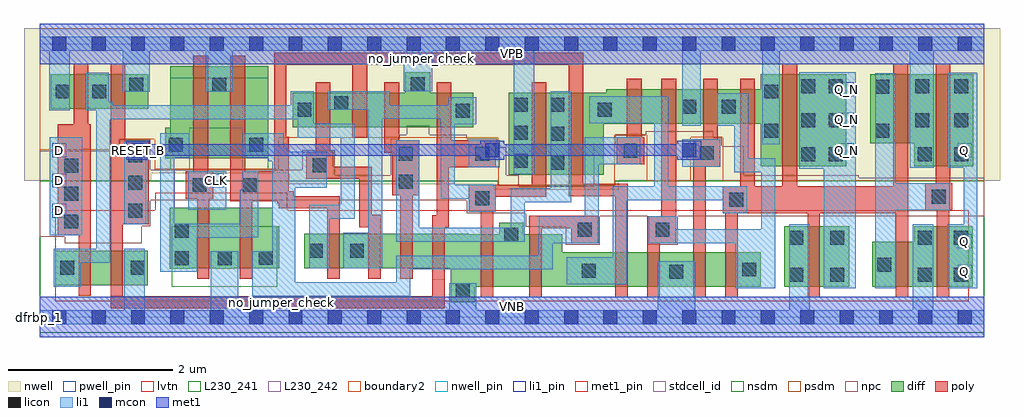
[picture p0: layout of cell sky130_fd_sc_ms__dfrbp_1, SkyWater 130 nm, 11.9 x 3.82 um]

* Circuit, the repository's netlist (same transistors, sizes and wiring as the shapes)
* Copyright 2020 The SkyWater PDK Authors
*
* Licensed under the Apache License, Version 2.0 (the "License");
* you may not use this file except in compliance with the License.
* You may obtain a copy of the License at
*
*     https://www.apache.org/licenses/LICENSE-2.0
*
* Unless required by applicable law or agreed to in writing, software
* distributed under the License is distributed on an "AS IS" BASIS,
* WITHOUT WARRANTIES OR CONDITIONS OF ANY KIND, either express or implied.
* See the License for the specific language governing permissions and
* limitations under the License.
*
* SPDX-License-Identifier: Apache-2.0

.SUBCKT sky130_fd_sc_ms__dfrbp_1 CLK D RESET_B VGND VNB VPB VPWR Q Q_N
*.PININFO CLK:I D:I RESET_B:I VGND:I VNB:I VPB:I VPWR:I Q:O Q_N:O
MI651 Q_N s0 VGND VNB sky130_fd_pr__nfet_01v8_lvt m=1 w=0.74U l=0.15U mult=1 sa=0.265
+ sb=0.265 sd=0.28 area=0.063 perim=1.14
MI46 clkpos clkneg VGND VNB sky130_fd_pr__nfet_01v8_lvt m=1 w=0.74U l=0.15U mult=1
+ sa=0.265 sb=0.265 sd=0.28 area=0.063 perim=1.14
MI42 db clkneg M0 VNB sky130_fd_pr__nfet_01v8_lvt m=1 w=0.42U l=0.15U mult=1 sa=0.265
+ sb=0.265 sd=0.28 area=0.063 perim=1.14
MI656 net117 s0 net83 VNB sky130_fd_pr__nfet_01v8_lvt m=1 w=0.42U l=0.15U mult=1
+ sa=0.265 sb=0.265 sd=0.28 area=0.063 perim=1.14
MI657 net83 RESET_B VGND VNB sky130_fd_pr__nfet_01v8_lvt m=1 w=0.42U l=0.15U mult=1
+ sa=0.265 sb=0.265 sd=0.28 area=0.063 perim=1.14
MI33 net92 RESET_B VGND VNB sky130_fd_pr__nfet_01v8_lvt m=1 w=0.42U l=0.15U mult=1
+ sa=0.265 sb=0.265 sd=0.28 area=0.063 perim=1.14
MI4 M0 clkpos net100 VNB sky130_fd_pr__nfet_01v8_lvt m=1 w=0.42U l=0.15U mult=1
+ sa=0.265 sb=0.265 sd=0.28 area=0.063 perim=1.14
MI34 net100 M1 net92 VNB sky130_fd_pr__nfet_01v8_lvt m=1 w=0.42U l=0.15U mult=1
+ sa=0.265 sb=0.265 sd=0.28 area=0.063 perim=1.14
MI655 s0 clkneg net116 VNB sky130_fd_pr__nfet_01v8_lvt m=1 w=0.42U l=0.15U mult=1
+ sa=0.265 sb=0.265 sd=0.28 area=0.063 perim=1.14
MI652 net176 s0 VGND VNB sky130_fd_pr__nfet_01v8_lvt m=1 w=0.55U l=0.15U mult=1
+ sa=0.265 sb=0.265 sd=0.28 area=0.063 perim=1.14
MI653 Q net176 VGND VNB sky130_fd_pr__nfet_01v8_lvt m=1 w=0.74U l=0.15U mult=1
+ sa=0.265 sb=0.265 sd=0.28 area=0.063 perim=1.14
MI654 net116 net117 VGND VNB sky130_fd_pr__nfet_01v8_lvt m=1 w=0.42U l=0.15U mult=1
+ sa=0.265 sb=0.265 sd=0.28 area=0.063 perim=1.14
MI44 clkneg CLK VGND VNB sky130_fd_pr__nfet_01v8_lvt m=1 w=0.74U l=0.15U mult=1
+ sa=0.265 sb=0.265 sd=0.28 area=0.063 perim=1.14
MI647 M1 M0 VGND VNB sky130_fd_pr__nfet_01v8_lvt m=1 w=0.64U l=0.15U mult=1 sa=0.265
+ sb=0.265 sd=0.28 area=0.063 perim=1.14
MI39 db D net132 VNB sky130_fd_pr__nfet_01v8_lvt m=1 w=0.42U l=0.15U mult=1 sa=0.265
+ sb=0.265 sd=0.28 area=0.063 perim=1.14
MI38 net132 RESET_B VGND VNB sky130_fd_pr__nfet_01v8_lvt m=1 w=0.42U l=0.15U mult=1
+ sa=0.265 sb=0.265 sd=0.28 area=0.063 perim=1.14
MI649 M1 clkpos s0 VNB sky130_fd_pr__nfet_01v8_lvt m=1 w=0.64U l=0.15U mult=1 sa=0.265
+ sb=0.265 sd=0.28 area=0.063 perim=1.14
MI47 clkpos clkneg VPWR VPB sky130_fd_pr__pfet_01v8 m=1 w=1.12U l=0.18U mult=1
+ sa=0.265 sb=0.265 sd=0.28 area=0.063 perim=1.14
MI43 db clkpos M0 VPB sky130_fd_pr__pfet_01v8 m=1 w=0.42U l=0.18U mult=1 sa=0.265
+ sb=0.265 sd=0.28 area=0.063 perim=1.14
MI662 net148 net117 VPWR VPB sky130_fd_pr__pfet_01v8 m=1 w=0.42U l=0.18U mult=1
+ sa=0.265 sb=0.265 sd=0.28 area=0.063 perim=1.14
MI659 net117 RESET_B VPWR VPB sky130_fd_pr__pfet_01v8 m=1 w=0.42U l=0.18U mult=1
+ sa=0.265 sb=0.265 sd=0.28 area=0.063 perim=1.14
MI664 s0 clkpos net148 VPB sky130_fd_pr__pfet_01v8 m=1 w=0.42U l=0.18U mult=1 sa=0.265
+ sb=0.265 sd=0.28 area=0.063 perim=1.14
MI658 net117 s0 VPWR VPB sky130_fd_pr__pfet_01v8 m=1 w=0.42U l=0.18U mult=1 sa=0.265
+ sb=0.265 sd=0.28 area=0.063 perim=1.14
MI30 net167 M1 VPWR VPB sky130_fd_pr__pfet_01v8 m=1 w=0.42U l=0.18U mult=1 sa=0.265
+ sb=0.265 sd=0.28 area=0.063 perim=1.14
MI31 M0 clkneg net167 VPB sky130_fd_pr__pfet_01v8 m=1 w=0.42U l=0.18U mult=1 sa=0.265
+ sb=0.265 sd=0.28 area=0.063 perim=1.14
MI32 M0 RESET_B VPWR VPB sky130_fd_pr__pfet_01v8 m=1 w=0.42U l=0.18U mult=1 sa=0.265
+ sb=0.265 sd=0.28 area=0.063 perim=1.14
MI663 net176 s0 VPWR VPB sky130_fd_pr__pfet_01v8 m=1 w=0.84U l=0.18U mult=1 sa=0.265
+ sb=0.265 sd=0.28 area=0.063 perim=1.14
MI660 Q net176 VPWR VPB sky130_fd_pr__pfet_01v8 m=1 w=1.12U l=0.18U mult=1 sa=0.265
+ sb=0.265 sd=0.28 area=0.063 perim=1.14
MI661 Q_N s0 VPWR VPB sky130_fd_pr__pfet_01v8 m=1 w=1.12U l=0.18U mult=1 sa=0.265
+ sb=0.265 sd=0.28 area=0.063 perim=1.14
MI45 clkneg CLK VPWR VPB sky130_fd_pr__pfet_01v8 m=1 w=1.12U l=0.18U mult=1 sa=0.265
+ sb=0.265 sd=0.28 area=0.063 perim=1.14
MI648 M1 M0 VPWR VPB sky130_fd_pr__pfet_01v8 m=1 w=1.0U l=0.18U mult=1 sa=0.265
+ sb=0.265 sd=0.28 area=0.063 perim=1.14
MI41 db RESET_B VPWR VPB sky130_fd_pr__pfet_01v8 m=1 w=0.42U l=0.18U mult=1 sa=0.265
+ sb=0.265 sd=0.28 area=0.063 perim=1.14
MI40 db D VPWR VPB sky130_fd_pr__pfet_01v8 m=1 w=0.42U l=0.18U mult=1 sa=0.265
+ sb=0.265 sd=0.28 area=0.063 perim=1.14
MI650 M1 clkneg s0 VPB sky130_fd_pr__pfet_01v8 m=1 w=1.0U l=0.18U mult=1 sa=0.265
+ sb=0.265 sd=0.28 area=0.063 perim=1.14
.ENDS sky130_fd_sc_ms__dfrbp_1

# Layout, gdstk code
import gdstk
lib = gdstk.Library(unit=1e-6, precision=1e-09)
def R(c, l, rs):  # rectangles x0, y0, x1, y1
    for r in rs: c.add(gdstk.rectangle(r[:2], r[2:], *l))
def A(c, l, x, y, w, h, nx, ny, dx, dy):  # array of equal rectangles
    R(c, l, [(x+i*dx, y+j*dy, x+i*dx+w, y+j*dy+h) for i in range(nx) for j in range(ny)])
def P(c, l, *ps):  # polygons
    for p in ps: c.add(gdstk.Polygon(p, *l))
nwell_pin = (64, 16)
nwell = (64, 20)
diff = (65, 20)
poly = (66, 20)
licon = (66, 44)
li1_pin = (67, 16)
li1 = (67, 20)
mcon = (67, 44)
met1_pin = (68, 16)
met1 = (68, 20)
stdcell_id = (81, 4)
nsdm = (93, 44)
psdm = (94, 20)
npc = (95, 20)
pwell_pin = (122, 16)
lvtn = (125, 44)
L230_241 = (230, 241)
L230_242 = (230, 242)
boundary2 = (236, 0)

sky130_fd_sc_ms__dfrbp_1 = lib.new_cell('sky130_fd_sc_ms__dfrbp_1')
R(sky130_fd_sc_ms__dfrbp_1, nwell_pin, [(0,3.085,11.52,3.33)])
P(sky130_fd_sc_ms__dfrbp_1, nwell, [(11.71,3.52),(-0.19,3.52),(-0.19,1.66),(1.36,1.66),(1.36,1.755),(3.035,1.755),(3.035,1.62),(5.54,1.62),(5.54,1.555),(7.06,1.555),(7.06,1.66),(11.71,1.66)])
R(sky130_fd_sc_ms__dfrbp_1, diff, [(9.08,0.37,9.87,1.11), (0.19,0.39,1.32,0.81), (0.135,2.54,1.325,2.96)])
P(sky130_fd_sc_ms__dfrbp_1, diff, [(2.785,3.055),(1.595,3.055),(1.595,2.31),(1.535,2.31),(1.535,1.935),(2.785,1.935)],
  [(2.92,1.11),(2.84,1.11),(2.84,1.335),(1.59,1.335),(1.59,0.59),(1.845,0.59),(1.845,0.595),(2.145,0.595),(2.145,0.59),(2.365,0.59),(2.365,0.595),(2.92,0.595)],
  [(5.285,2.735),(4.765,2.735),(4.765,2.985),(4.46,2.985),(4.46,2.735),(3.085,2.735),(3.085,2.315),(5.285,2.315)],
  [(8.795,0.79),(6.37,0.79),(6.37,1.01),(5.895,1.01),(5.895,1.15),(5.605,1.15),(5.605,1.01),(5.225,1.01),(5.225,1.015),(3.225,1.015),(3.225,0.595),(5.015,0.595),(5.015,0.18),(5.305,0.18),(5.305,0.37),(8.795,0.37)],
  [(9.835,2.96),(8.795,2.96),(8.795,2.775),(6.91,2.775),(6.91,2.735),(5.72,2.735),(5.72,1.735),(6.88,1.735),(6.88,2.355),(8.795,2.355),(8.795,1.84),(9.835,1.84)],
  [(11.375,1.11),(10.665,1.11),(10.665,0.92),(10.155,0.92),(10.155,0.37),(11.375,0.37)],
  [(11.385,2.96),(10.13,2.96),(10.13,2.12),(10.665,2.12),(10.665,1.84),(11.385,1.84)])
P(sky130_fd_sc_ms__dfrbp_1, poly, [(0.625,2.35),(0.595,2.35),(0.595,3.09),(0.415,3.09),(0.415,2.35),(0.22,2.35),(0.22,1),(0.475,1),(0.475,0.26),(0.625,0.26)],
  [(7.37,2.195),(7.34,2.195),(7.34,2.905),(7.16,2.905),(7.16,2.195),(7.04,2.195),(7.04,1.865),(7.37,1.865)],
  [(5.56,2.155),(5.02,2.155),(5.02,2.865),(4.84,2.865),(4.84,1.24),(4.79,1.24),(4.79,0.255),(1.015,0.255),(1.015,1.13),(1.33,1.13),(1.33,2.14),(1.045,2.14),(1.045,3.09),(0.865,3.09),(0.865,0.105),(4.94,0.105),(4.94,1.09),(4.99,1.09),(4.99,1.825),(5.56,1.825)],
  [(2.115,1.775),(2.055,1.775),(2.055,3.185),(1.875,3.185),(1.875,1.775),(1.785,1.775),(1.785,1.445),(1.92,1.445),(1.92,0.465),(2.07,0.465),(2.07,1.445),(2.115,1.445)],
  [(8.3,2.165),(8.27,2.165),(8.27,2.905),(8.09,2.905),(8.09,2.165),(7.97,2.165),(7.97,0.24),(8.12,0.24),(8.12,1.835),(8.3,1.835)],
  [(7.76,2.905),(7.58,2.905),(7.58,1.23),(7.41,1.23),(7.41,0.24),(7.56,0.24),(7.56,0.9),(7.76,0.9)],
  [(10.59,3.09),(10.41,3.09),(10.41,1.595),(9.235,1.595),(9.235,3.09),(9.055,3.09),(9.055,1.595),(8.72,1.595),(8.72,2.905),(8.54,2.905),(8.54,1.595),(8.33,1.595),(8.33,1.265),(8.36,1.265),(8.36,0.24),(8.51,0.24),(8.51,1.265),(9.365,1.265),(9.365,0.24),(9.515,0.24),(9.515,1.265),(10.44,1.265),(10.44,0.24),(10.59,0.24)],
  [(4.63,2.155),(4.385,2.155),(4.385,2.865),(4.205,2.865),(4.205,2.005),(4.3,2.005),(4.3,1.485),(4.4,1.485),(4.4,0.465),(4.55,0.465),(4.55,1.485),(4.63,1.485)],
  [(4.16,1.245),(4.05,1.245),(4.05,1.835),(3.58,1.835),(3.58,2.015),(3.545,2.015),(3.545,2.865),(3.365,2.865),(3.365,2.015),(3.25,2.015),(3.25,1.685),(3.9,1.685),(3.9,1.095),(4.01,1.095),(4.01,0.465),(4.16,0.465)],
  [(11.13,1.63),(11.105,1.63),(11.105,3.09),(10.925,3.09),(10.925,1.63),(10.8,1.63),(10.8,1.3),(10.94,1.3),(10.94,0.24),(11.09,0.24),(11.09,1.3),(11.13,1.3)],
  [(7.17,1.625),(6.63,1.625),(6.63,3.225),(2.86,3.225),(2.86,1.775),(2.505,1.775),(2.505,3.185),(2.325,3.185),(2.325,1.41),(2.44,1.41),(2.44,0.465),(2.59,0.465),(2.59,1.41),(2.895,1.41),(2.895,1.39),(2.915,1.39),(2.915,1.325),(3.51,1.325),(3.51,0.465),(3.66,0.465),(3.66,1.475),(3.1,1.475),(3.1,1.535),(3.04,1.535),(3.04,2.2),(3.01,2.2),(3.01,3.075),(3.815,3.075),(3.815,2.185),(3.995,2.185),(3.995,3.075),(6.45,3.075),(6.45,1.475),(7.02,1.475),(7.02,0.24),(7.17,0.24)],
  [(6.18,2.865),(6,2.865),(6,1.615),(5.23,1.615),(5.23,1.285),(5.38,1.285),(5.38,0.24),(5.53,0.24),(5.53,1.285),(5.56,1.285),(5.56,1.465),(6.18,1.465)],
  [(6.81,1.235),(5.97,1.235),(5.97,0.24),(6.12,0.24),(6.12,1.085),(6.48,1.085),(6.48,0.9),(6.81,0.9)])
A(sky130_fd_sc_ms__dfrbp_1, licon, 0.3, 1.08, 0.17, 0.17, 1, 3, 0, 0.34)
A(sky130_fd_sc_ms__dfrbp_1, licon, 1.08, 1.21, 0.17, 0.17, 1, 3, 0, 0.34)
A(sky130_fd_sc_ms__dfrbp_1, licon, 6.23, 1.795, 0.17, 0.17, 1, 3, 0, 0.355)
A(sky130_fd_sc_ms__dfrbp_1, licon, 9.285, 1.9, 0.17, 0.17, 1, 3, 0, 0.415)
A(sky130_fd_sc_ms__dfrbp_1, licon, 9.625, 1.9, 0.17, 0.17, 1, 3, 0, 0.415)
A(sky130_fd_sc_ms__dfrbp_1, licon, 11.155, 1.9, 0.17, 0.17, 1, 3, 0, 0.415)
R(sky130_fd_sc_ms__dfrbp_1, licon, [(5.075,0.24,5.245,0.41), (9.14,0.43,9.31,0.6), (9.64,0.43,9.81,0.6), (10.705,0.43,10.875,0.6), (11.145,0.43,11.315,0.6), (7.68,0.47,7.85,0.64), (6.61,0.48,6.78,0.65), (8.565,0.495,8.735,0.665), (0.25,0.515,0.42,0.685), (1.11,0.515,1.28,0.685), (10.215,0.555,10.385,0.725), (1.65,0.63,1.82,0.8), (2.17,0.63,2.34,0.8), (2.67,0.635,2.84,0.805), (3.285,0.725,3.455,0.895), (3.785,0.725,3.955,0.895), (9.14,0.88,9.31,1.05), (9.64,0.88,9.81,1.05), (10.705,0.88,10.875,1.05), (11.145,0.88,11.315,1.05), (5.665,0.92,5.835,1.09), (1.65,0.97,1.82,1.14), (6.56,0.98,6.73,1.15), (7.51,0.98,7.68,1.15), (8.41,1.345,8.58,1.515), (5.31,1.365,5.48,1.535), (10.88,1.38,11.05,1.55), (1.865,1.525,2.035,1.695), (2.475,1.525,2.645,1.695), (4.38,1.565,4.55,1.735), (3.33,1.765,3.5,1.935), (5.78,1.82,5.95,1.99), (10.705,1.9,10.875,2.07), (4.38,1.905,4.55,2.075), (5.31,1.905,5.48,2.075), (8.05,1.915,8.22,2.085), (7.12,1.945,7.29,2.115), (1.575,2.015,1.745,2.185), (2.555,2.015,2.725,2.185), (5.78,2.16,5.95,2.33), (8.835,2.185,9.005,2.355), (10.19,2.185,10.36,2.355), (10.675,2.315,10.845,2.485), (5.075,2.43,5.245,2.6), (3.145,2.44,3.315,2.61), (6.805,2.445,6.975,2.615), (7.835,2.48,8.005,2.65), (8.32,2.48,8.49,2.65), (5.78,2.505,5.95,2.675), (3.595,2.525,3.765,2.695), (0.195,2.665,0.365,2.835), (0.645,2.665,0.815,2.835), (8.835,2.665,9.005,2.835), (10.19,2.725,10.36,2.895), (10.675,2.73,10.845,2.9), (1.095,2.75,1.265,2.92), (2.105,2.75,2.275,2.92), (4.525,2.755,4.695,2.925)])
A(sky130_fd_sc_ms__dfrbp_1, li1_pin, 0.155, 1.21, 0.17, 0.17, 1, 3, 0, 0.37)
A(sky130_fd_sc_ms__dfrbp_1, li1_pin, 9.755, 1.95, 0.17, 0.17, 1, 3, 0, 0.37)
R(sky130_fd_sc_ms__dfrbp_1, li1_pin, [(11.195,0.47,11.365,0.64), (11.195,0.84,11.365,1.01), (2.075,1.58,2.245,1.75), (11.195,1.95,11.365,2.12)])
R(sky130_fd_sc_ms__dfrbp_1, li1, [(0.125,1,0.52,2.195), (1.03,1.13,1.3,2.14), (5.23,1.825,5.61,2.155), (7.835,1.835,8.3,2.165)])
P(sky130_fd_sc_ms__dfrbp_1, li1, [(11.52,0.085),(10.895,0.085),(10.895,1.13),(10.645,1.13),(10.645,0.085),(9.39,0.085),(9.39,1.13),(9.14,1.13),(9.14,0.085),(7.995,0.085),(7.995,0.68),(7.535,0.68),(7.535,0.085),(5.325,0.085),(5.325,0.41),(4.995,0.41),(4.995,0.085),(2.42,0.085),(2.42,0.8),(2.09,0.8),(2.09,0.085),(1.28,0.085),(1.28,0.83),(1.03,0.83),(1.03,0.085),(0,0.085),(0,-0.085),(11.52,-0.085)],
  [(2.275,1.78),(2.045,1.78),(2.045,1.775),(1.81,1.775),(1.81,1.31),(2.275,1.31)],
  [(2.665,1.775),(2.475,1.775),(2.475,1.55),(2.445,1.55),(2.445,1.14),(1.64,1.14),(1.64,1.945),(1.825,1.945),(1.825,2.24),(1.47,2.24),(1.47,0.55),(1.92,0.55),(1.92,0.97),(2.54,0.97),(2.54,0.975),(2.665,0.975)],
  [(3.84,2.355),(3.345,2.355),(3.345,2.755),(3.065,2.755),(3.065,2.58),(0.89,2.58),(0.89,2.625),(0.845,2.625),(0.845,2.98),(0.565,2.98),(0.565,2.52),(0.69,2.52),(0.69,0.83),(0.17,0.83),(0.17,0.37),(0.5,0.37),(0.5,0.66),(0.86,0.66),(0.86,2.41),(3.145,2.41),(3.145,2.185),(3.67,2.185),(3.67,1.37),(3.285,1.37),(3.285,0.595),(3.535,0.595),(3.535,1.2),(3.84,1.2)],
  [(5.56,1.615),(5.06,1.615),(5.06,2.35),(5.325,2.35),(5.325,2.68),(4.99,2.68),(4.99,2.585),(4.27,2.585),(4.27,2.755),(3.515,2.755),(3.515,2.525),(4.01,2.525),(4.01,1.03),(3.705,1.03),(3.705,0.595),(4.18,0.595),(4.18,2.415),(4.89,2.415),(4.89,1.445),(5.23,1.445),(5.23,1.285),(5.56,1.285)],
  [(6.48,2.755),(6.23,2.755),(6.23,1.57),(5.745,1.57),(5.745,1.09),(4.63,1.09),(4.63,2.155),(4.35,2.155),(4.35,0.92),(5.915,0.92),(5.915,1.4),(6.48,1.4)],
  [(7.325,2.195),(6.65,2.195),(6.65,1.23),(6.085,1.23),(6.085,0.75),(4.35,0.75),(4.35,0.425),(3.115,0.425),(3.115,1.575),(3.5,1.575),(3.5,2.015),(3.02,2.015),(3.02,2.06),(2.975,2.06),(2.975,2.24),(2.475,2.24),(2.475,1.945),(2.79,1.945),(2.79,1.9),(2.835,1.9),(2.835,0.805),(2.59,0.805),(2.59,0.255),(4.52,0.255),(4.52,0.58),(6.255,0.58),(6.255,0.9),(6.82,0.9),(6.82,1.865),(7.325,1.865)],
  [(8.63,1.595),(7.665,1.595),(7.665,2.695),(6.7,2.695),(6.7,2.365),(7.495,2.365),(7.495,1.595),(6.99,1.595),(6.99,0.73),(6.425,0.73),(6.425,0.4),(7.16,0.4),(7.16,1.425),(8.33,1.425),(8.33,1.265),(8.63,1.265)],
  [(8.97,1.935),(8.64,1.935),(8.64,2.73),(8.26,2.73),(8.26,2.335),(8.47,2.335),(8.47,1.765),(8.8,1.765),(8.8,1.07),(7.76,1.07),(7.76,1.23),(7.43,1.23),(7.43,0.9),(8.485,0.9),(8.485,0.35),(8.97,0.35)],
  [(9.95,2.985),(9.26,2.985),(9.26,1.81),(9.56,1.81),(9.56,0.35),(9.95,0.35)],
  [(11.095,1.63),(10.44,1.63),(10.44,2.975),(10.19,2.975),(10.19,0.35),(10.44,0.35),(10.44,1.3),(11.095,1.3)],
  [(11.435,2.98),(11.075,2.98),(11.075,1.82),(11.265,1.82),(11.265,1.13),(11.065,1.13),(11.065,0.35),(11.435,0.35)],
  [(11.52,3.415),(0,3.415),(0,3.245),(0.115,3.245),(0.115,2.52),(0.365,2.52),(0.365,3.245),(1.015,3.245),(1.015,2.75),(1.345,2.75),(1.345,3.245),(2.025,3.245),(2.025,2.75),(2.355,2.75),(2.355,3.245),(4.44,3.245),(4.44,2.755),(4.785,2.755),(4.785,3.245),(5.78,3.245),(5.78,1.74),(6.03,1.74),(6.03,3.245),(7.835,3.245),(7.835,2.335),(8.06,2.335),(8.06,3.245),(8.81,3.245),(8.81,2.105),(9.025,2.105),(9.025,3.245),(10.61,3.245),(10.61,1.82),(10.905,1.82),(10.905,3.245),(11.52,3.245)])
A(sky130_fd_sc_ms__dfrbp_1, mcon, 0.155, -0.085, 0.17, 0.17, 24, 2, 0.48, 3.33)
R(sky130_fd_sc_ms__dfrbp_1, mcon, [(1.115,1.95,1.285,2.12), (5.435,1.95,5.605,2.12), (7.835,1.95,8.005,2.12)])
R(sky130_fd_sc_ms__dfrbp_1, met1_pin, [(0,0,11.52,0.245), (1.115,1.95,1.285,2.12), (0,3.085,11.52,3.33)])
R(sky130_fd_sc_ms__dfrbp_1, met1, [(0,-0.245,11.52,0.245), (0,3.085,11.52,3.575)])
P(sky130_fd_sc_ms__dfrbp_1, met1, [(8.065,2.15),(7.775,2.15),(7.775,2.105),(5.665,2.105),(5.665,2.15),(5.375,2.15),(5.375,2.105),(1.345,2.105),(1.345,2.15),(1.055,2.15),(1.055,1.92),(1.345,1.92),(1.345,1.965),(5.375,1.965),(5.375,1.92),(5.665,1.92),(5.665,1.965),(7.775,1.965),(7.775,1.92),(8.065,1.92)])
R(sky130_fd_sc_ms__dfrbp_1, stdcell_id, [(0,0,11.52,3.33)])
P(sky130_fd_sc_ms__dfrbp_1, nsdm, [(11.52,1.66),(7.01,1.66),(7.01,1.605),(5.59,1.605),(5.59,1.66),(0,1.66),(0,-0.19),(11.52,-0.19)])
P(sky130_fd_sc_ms__dfrbp_1, psdm, [(11.52,3.52),(0,3.52),(0,2.04),(0.97,2.04),(0.97,2.17),(1.405,2.17),(1.405,1.805),(2.915,1.805),(2.915,2.185),(5.59,2.185),(5.59,1.605),(7.01,1.605),(7.01,2.225),(7.4,2.225),(7.4,1.66),(7.94,1.66),(7.94,2.195),(8.33,2.195),(8.33,1.66),(11.52,1.66)])
P(sky130_fd_sc_ms__dfrbp_1, npc, [(11.52,1.7),(9.99,1.7),(9.99,1.73),(8.585,1.73),(8.585,2.08),(8.32,2.08),(8.32,2.185),(8.215,2.185),(8.215,2.265),(7.39,2.265),(7.39,2.215),(7.02,2.215),(7.02,2.11),(6.755,2.11),(6.755,1.595),(5.845,1.595),(5.845,1.73),(5.69,1.73),(5.69,2.07),(5.58,2.07),(5.58,2.175),(5.21,2.175),(5.21,2.225),(4.75,2.225),(4.75,2.335),(4.475,2.335),(4.475,2.225),(4.385,2.225),(4.385,2.175),(4.28,2.175),(4.28,1.73),(3.6,1.73),(3.6,2.035),(3.2,2.035),(3.2,1.795),(1.35,1.795),(1.35,2.16),(0.98,2.16),(0.98,2.03),(0,2.03),(0,0.98),(0.305,0.98),(0.305,0.9),(1.245,0.9),(1.245,1.11),(1.35,1.11),(1.35,1.425),(5.21,1.425),(5.21,1.265),(5.925,1.265),(5.925,1.1),(6.415,1.1),(6.415,0.88),(6.83,0.88),(6.83,1.23),(7.41,1.23),(7.41,0.88),(7.78,0.88),(7.78,1.23),(11.52,1.23)])
R(sky130_fd_sc_ms__dfrbp_1, pwell_pin, [(0,0,11.52,0.245)])
P(sky130_fd_sc_ms__dfrbp_1, lvtn, [(11.33,1.3),(3.02,1.3),(3.02,1.515),(1.41,1.515),(1.41,1.3),(0.19,1.3),(0.19,0.19),(11.33,0.19)])
R(sky130_fd_sc_ms__dfrbp_1, L230_241, [(1.61,0.37,2.9,1.11), (1.595,1.8,2.785,2.92)])
P(sky130_fd_sc_ms__dfrbp_1, L230_241, [(2.275,1.78),(2.045,1.78),(2.045,1.64),(1.81,1.64),(1.81,1.31),(2.275,1.31)])
P(sky130_fd_sc_ms__dfrbp_1, L230_242, [(4.94,0.46),(4.79,0.46),(4.79,0.255),(1.015,0.255),(1.015,0.26),(0.865,0.26),(0.865,0.105),(4.94,0.105)],
  [(2.475,2.31),(1.825,2.31),(1.825,1.81),(1.64,1.81),(1.64,1.14),(2.445,1.14),(2.445,1.55),(2.475,1.55)])
R(sky130_fd_sc_ms__dfrbp_1, boundary2, [(0,0,11.52,3.33)])
sky130_fd_sc_ms__dfrbp_1.add(gdstk.Label('VNB', (5.76,0.123), layer=64, texttype=59))
sky130_fd_sc_ms__dfrbp_1.add(gdstk.Label('VPB', (5.76,3.208), layer=64, texttype=5))
sky130_fd_sc_ms__dfrbp_1.add(gdstk.Label('no_jumper_check', (4.66,3.15), layer=83, texttype=44))
sky130_fd_sc_ms__dfrbp_1.add(gdstk.Label('no_jumper_check', (2.955,0.18), layer=83, texttype=44))
sky130_fd_sc_ms__dfrbp_1.add(gdstk.Label('dfrbp_1', (0,0), layer=83, texttype=44))
sky130_fd_sc_ms__dfrbp_1.add(gdstk.Label('RESET_B', (1.2,2.035), layer=68, texttype=5))
sky130_fd_sc_ms__dfrbp_1.add(gdstk.Label('VPWR', (5.76,3.208), layer=68, texttype=5))
sky130_fd_sc_ms__dfrbp_1.add(gdstk.Label('VGND', (5.76,0.123), layer=68, texttype=5))
sky130_fd_sc_ms__dfrbp_1.add(gdstk.Label('Q', (11.28,0.555), layer=67, texttype=5))
sky130_fd_sc_ms__dfrbp_1.add(gdstk.Label('Q', (11.28,0.925), layer=67, texttype=5))
sky130_fd_sc_ms__dfrbp_1.add(gdstk.Label('Q', (11.28,2.035), layer=67, texttype=5))
sky130_fd_sc_ms__dfrbp_1.add(gdstk.Label('CLK', (2.16,1.665), layer=67, texttype=5))
sky130_fd_sc_ms__dfrbp_1.add(gdstk.Label('D', (0.24,1.295), layer=67, texttype=5))
sky130_fd_sc_ms__dfrbp_1.add(gdstk.Label('D', (0.24,1.665), layer=67, texttype=5))
sky130_fd_sc_ms__dfrbp_1.add(gdstk.Label('D', (0.24,2.035), layer=67, texttype=5))
sky130_fd_sc_ms__dfrbp_1.add(gdstk.Label('Q_N', (9.84,2.035), layer=67, texttype=5))
sky130_fd_sc_ms__dfrbp_1.add(gdstk.Label('Q_N', (9.84,2.405), layer=67, texttype=5))
sky130_fd_sc_ms__dfrbp_1.add(gdstk.Label('Q_N', (9.84,2.775), layer=67, texttype=5))

lib.write_gds('sky130_fd_sc_ms__dfrbp_1.gds')
